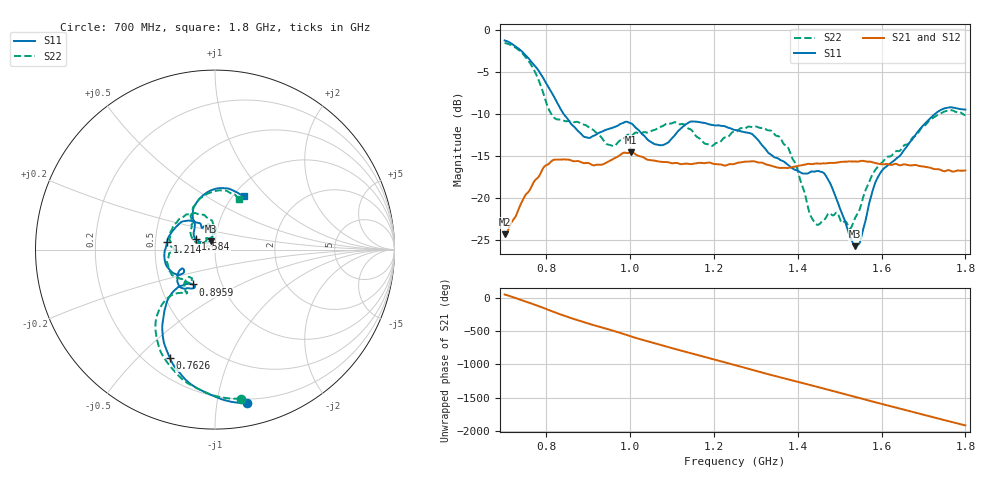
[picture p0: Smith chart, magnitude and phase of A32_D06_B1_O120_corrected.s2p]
! Created with skrf 1.9.0 (http://scikit-rf.org).
# Hz S RI R 50.0
!freq ReS11 ImS11 ReS21 ImS21 ReS12 ImS12 ReS22 ImS22
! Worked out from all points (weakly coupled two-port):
!   1601 points, 700 MHz to 1.8 GHz, reference 50 ohm
!   highest |S21| = -14.54 dB at 1.002 GHz (marker M1); lowest = -24.4 dB at 700 MHz (marker M2)
!   lowest |S11| = -25.8 dB at 1.537 GHz (marker M3), VSWR 1.11, Z = 47.5 + j4.39 ohm
!   |S11| at or under -10 dB: 841.5 MHz to 1.727 GHz (885.3 MHz wide, 68.9 % of centre)
!   |S22| runs from -23.6 to -1.5 dB; largest |S21 - S12| = 0.0035
!   S11 on the Smith chart (normalised r, x): 700 MHz: 0.17, -1.21; 762.6 MHz: 0.30, -0.63; 895.9 MHz: 0.73, -0.30; 1.214 GHz: 0.58, +0.06; 1.584 GHz: 0.80, +0.09; 1.8 GHz: 1.12, +0.75
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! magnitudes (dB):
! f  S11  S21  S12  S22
! 700 MHz  -1.2  -24.4  -24.1  -1.5
! 762.6 MHz  -3.7  -18.8  -18.8  -4.0
! 816.2 MHz  -7.7  -15.5  -15.6  -10.3
! 883.6 MHz  -12.4  -15.7  -15.6  -11.2
! 895.9 MHz  -12.8  -15.8  -15.9  -11.4
! 956.4 MHz  -11.6  -15.4  -15.4  -13.8
! 1.002 GHz  -11.1  -14.5  -14.6  -12.5
! 1.067 GHz  -13.7  -15.6  -15.6  -11.6
! 1.143 GHz  -10.9  -16.0  -15.9  -11.8
! 1.214 GHz  -11.4  -16.0  -16.0  -13.4
! 1.25 GHz  -11.9  -15.9  -15.8  -12.1
! 1.357 GHz  -15.4  -16.4  -16.3  -12.7
! 1.395 GHz  -16.7  -16.2  -16.2  -15.9
! 1.434 GHz  -16.8  -16.0  -15.9  -22.4
! 1.471 GHz  -17.7  -15.8  -15.8  -22.0
! 1.524 GHz  -24.6  -15.6  -15.6  -23.6
! 1.537 GHz  -25.8  -15.6  -15.6  -22.4
! 1.55 GHz  -24.9  -15.6  -15.6  -20.9
! 1.584 GHz  -18.3  -15.8  -15.8  -16.7
! 1.617 GHz  -16.0  -16.0  -15.9  -15.1
! 1.733 GHz  -9.7  -16.6  -16.6  -10.1
! 1.8 GHz  -9.4  -16.7  -16.7  -10.1
